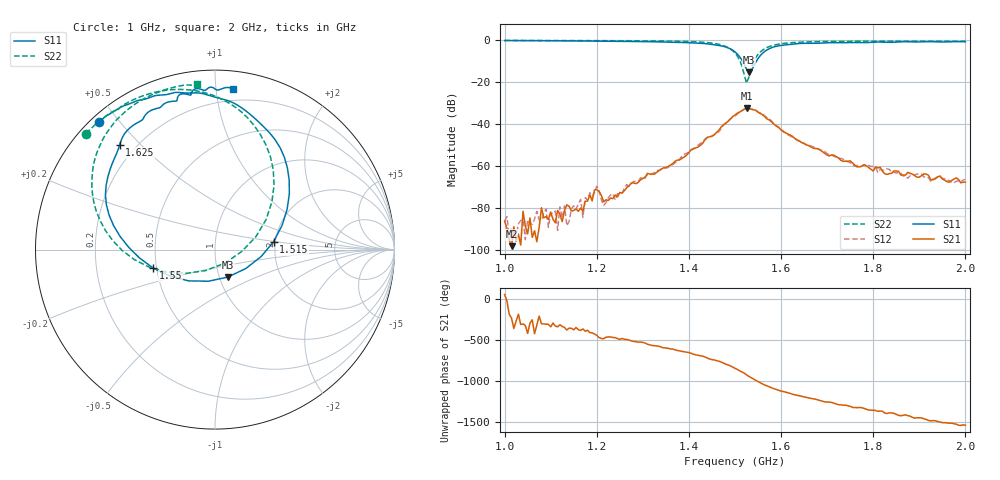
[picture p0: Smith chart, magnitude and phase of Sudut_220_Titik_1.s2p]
# Hz S RI R 50
! CMT, C1220, 16058040, 17.2.0/1
! Date: 14/08/2018 12:57:19
! Data: Format (Calibration Info)
! Freq  S11: Re/Im (F2)  S21: Re/Im (F2)  S12: Re/Im (F2)  S22: Re/Im (F2)
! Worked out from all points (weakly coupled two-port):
!   201 points, 1 GHz to 2 GHz, reference 50 ohm
!   highest |S21| = -32.38 dB at 1.525 GHz (marker M1); lowest = -98.1 dB at 1.015 GHz (marker M2)
!   lowest |S11| = -15.4 dB at 1.53 GHz (marker M3), VSWR 1.41, Z = 55 - j17.3 ohm
!   |S11| at or under -10 dB: 1.516 GHz to 1.547 GHz (31.05 MHz wide, 2.03 % of centre)
!   |S22| runs from -20.6 to -0.3 dB; largest |S21 - S12| = 0.00098
!   S11 on the Smith chart (normalised r, x): 1 GHz: 0.02, +0.44; 1.515 GHz: 1.96, +0.19; 1.55 GHz: 0.48, -0.11; 1.625 GHz: 0.14, +0.43; 2 GHz: 0.12, +1.11
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1e9  -0.6469 0.7122  3.02e-05 3.93e-05  -4.87e-05 9.6e-06  -0.719 0.6456
1.015e9  -0.6297 0.7251  -7.36e-06 1.01e-05  -2.99e-05 1.72e-05  -0.7082 0.6567
1.155e9  -0.477 0.812  9.42e-05 1.97e-05  8.29e-05 -4.17e-05  -0.5924 0.7554
1.165e9  -0.4658 0.8165  9.18e-05 -4.07e-05  0.000143 -7.4e-05  -0.5823 0.7625
1.17e9  -0.4594 0.8194  8.38e-05 -8.57e-06  4.6e-05 -3.91e-05  -0.5766 0.7656
1.175e9  -0.4523 0.8223  0.000121 -8.32e-05  0.000151 -9.64e-05  -0.571 0.7685
1.19e9  -0.4294 0.8307  8.82e-05 -0.00012  9.38e-05 -0.000166  -0.5534 0.7764
1.2e9  -0.4153 0.8335  2.91e-05 -0.000274  -3.2e-05 -0.000333  -0.543 0.7776
1.215e9  -0.3948 0.8374  -8.11e-05 -0.000117  -3.43e-05 -0.00011  -0.5352 0.7858
1.335e9  -0.186 0.8738  -0.000628 0.000461  -0.000572 0.000539  -0.3601 0.8699
1.45e9  0.1958 0.7535  0.00481 -0.00171  0.00483 -0.00199  0.0471 0.8334
1.5e9  0.4141 0.3092  -0.00929 -0.0135  -0.00868 -0.0127  0.3292 0.3596
1.515e9  0.326 0.0437  -0.0202 -0.00396  -0.0203 -0.00455  0.2275 0.0718
1.525e9  0.1726 -0.1049  -0.022 0.00964  -0.0223 0.00965  0.0566 -0.0747
1.53e9  0.0729 -0.1524  -0.0169 0.016  -0.0171 0.0161  -0.052 -0.1169
1.55e9  -0.3449 -0.1027  0.00603 0.0182  0.00527 0.0184  -0.4492 -0.0556
1.58e9  -0.6051 0.25  0.0111 -0.000779  0.0115 -0.00123  -0.6754 0.2649
1.625e9  -0.5312 0.5831  0.000819 -0.005  0.000916 -0.00472  -0.6494 0.5615
1.67e9  -0.4156 0.7157  -0.00196 -0.00181  -0.0021 -0.00195  -0.5666 0.7009
1.76e9  -0.2504 0.8245  -0.000477 0.000934  -0.000516 0.00085  -0.4203 0.8259
1.835e9  -0.1371 0.8604  0.000397 0.000531  0.0006 0.000579  -0.3147 0.878
2e9  0.0984 0.8949  -6.01e-05 -0.000411  -9.06e-05 -0.000475  -0.0976 0.9223
